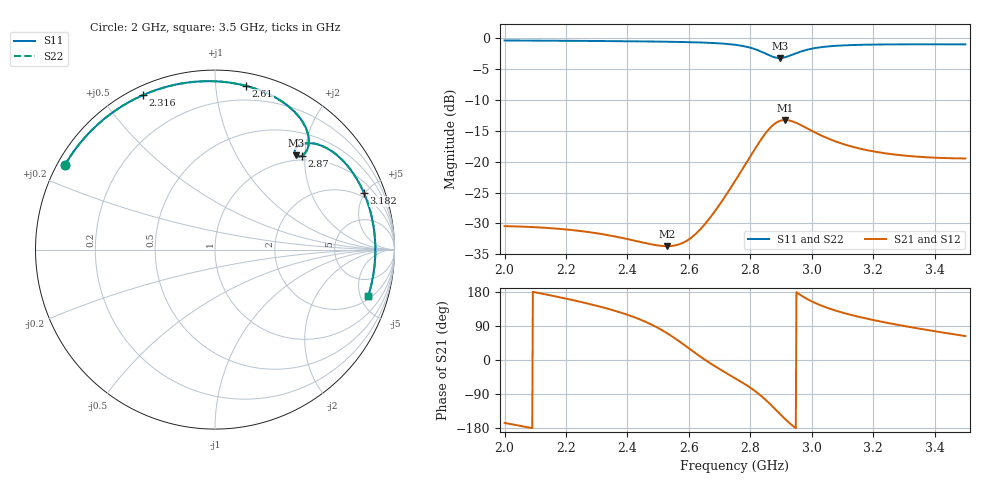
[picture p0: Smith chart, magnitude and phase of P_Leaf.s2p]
! Touchstone file exported from HFSS 2022.1.0
!  File:  C:/Users/Hamza Safder/Downloads/PSF-V2 with holder.aedt
!  Generated:  4:52:57 PM  Sep 29, 2023
!  Design:  HFSSDesign1
!  Project:  PSF-V2 with holder
!  Setup:  Setup1
!  Solution:  Sweep
! Variables:
!  WS = 5mm
!  ax = 15mm
!  az = 3.18mm
!  azd = 3mm
!  bx = 13mm
!  bx2 = 12.5mm
!  bx3 = 3.16mm
!  cin = 27.8mm
!  gap = 0.7mm
!  mid = 3mm
!  shift = 21.24mm
!  strip_1L = 18.62mm
!  substrate_L = 80mm
!  substrate_W = 70mm
!  t = 3mm
!  w50 = 9.18mm
!  wt = 1mm
!  xs = 0.8mm
!  zzz = 8mm
# GHz S MA R 50.000000
! Terminal data exported
! Port[1] = ground_T1
! Port[2] = ground_T2
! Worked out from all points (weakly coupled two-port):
!   751 points, 2 GHz to 3.5 GHz, reference 50 ohm
!   highest |S21| = -13.24 dB at 2.914 GHz (marker M1); lowest = -33.7 dB at 2.528 GHz (marker M2)
!   lowest |S11| = -3.2 dB at 2.896 GHz (marker M3), VSWR 5.50, Z = 45.1 + j90.9 ohm
!   |S11| at or under -10 dB: nowhere
!   |S22| runs from -3.2 to -0.4 dB; largest |S21 - S12| = 3.9e-15
!   S11 on the Smith chart (normalised r, x): 2 GHz: 0.02, +0.26; 2.316 GHz: 0.04, +0.64; 2.61 GHz: 0.09, +1.21; 2.87 GHz: 0.91, +1.94; 3.182 GHz: 1.64, +4.90; 3.5 GHz: 2.31, -5.86
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2  0.9599 150.7  0.0301 -166.0  0.0301 -166.0  0.9598 150.6
! Gamma 0 0 0 0
! Port Impedance 50 0 50 0
2.12  0.9566 137.4  0.0293 175.4  0.0293 175.4  0.9565 137.4
2.25  0.9523 122.7  0.02742 152.9  0.02742 152.9  0.9522 122.7
2.316  0.9498 115.0  0.02596 139.7  0.02596 139.7  0.9496 115.0
2.41  0.9454 104.0  0.02334 116.5  0.02334 116.5  0.9452 104.0
2.5  0.9398 93.1  0.02097 84.4  0.02097 84.4  0.9395 93.1
2.528  0.9376 89.6  0.02071 71.3  0.02071 71.3  0.9373 89.6
2.57  0.9336 84.3  0.02152 48.4  0.02152 48.4  0.9333 84.3
2.61  0.9287 79.2  0.02454 24.7  0.02454 24.7  0.9283 79.2
2.67  0.9176 71.2  0.03554 -9.0  0.03554 -9.0  0.9172 71.2
2.75  0.8855 59.8  0.06966 -47.8  0.06966 -47.8  0.885 59.8
2.816  0.8145 50.2  0.1282 -82.5  0.1282 -82.5  0.8137 50.2
2.87  0.713 47.2  0.1942 -121.0  0.1942 -121.0  0.7124 47.3
2.896  0.6921 49.4  0.2141 -142.3  0.2141 -142.3  0.6918 49.5
2.914  0.7032 50.9  0.2177 -156.6  0.2177 -156.6  0.7032 51.0
2.958  0.7707 50.0  0.2017 174.3  0.2017 174.3  0.7711 50.1
3  0.8231 45.1  0.178 154.6  0.178 154.6  0.8235 45.2
3.088  0.8716 33.1  0.1429 127.8  0.1429 127.8  0.8721 33.2
3.182  0.8875 20.9  0.1238 108.6  0.1238 108.6  0.8879 21.0
3.25  0.8916 12.4  0.116 97.3  0.116 97.3  0.892 12.5
3.37  0.8934 -1.9  0.1088 80.0  0.1088 80.0  0.8937 -1.8
3.5  0.8921 -16.9  0.1063 63.1  0.1063 63.1  0.8925 -16.8
